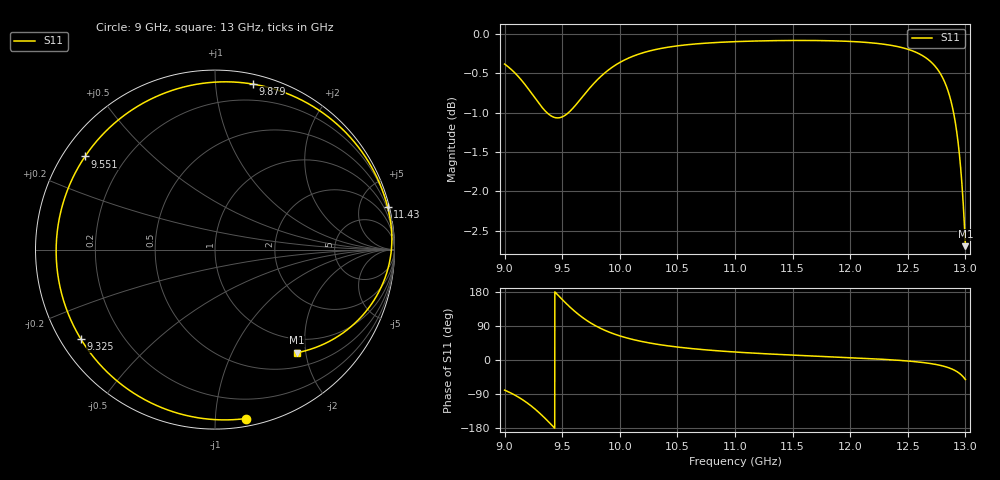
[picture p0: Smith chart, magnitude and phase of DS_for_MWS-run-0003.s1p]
! TOUCHSTONE file generated by CST DESIGN STUDIO
! Date and time: Tue Feb  4 18:04:49 2025
! Project name: C:\Work\MatlabApps\UnitCellOptimizationMatlab\CST\unitcell.cst
! Tree item: Tasks\Sweep1\SPara1\S-Parameters
! Header version: 2024
! Port assignment regex: !\s*Touchstone port\s*([0-9]+)\s*=\s*(CST MWS port|CST DES external port|CST DES block port)\s*(.+)\s* \(\"(.*)\"\)(\s*mode\s*([0-9]+))?.*
! Touchstone port assignment:
! Touchstone port 1 = CST DES external port 1 ("")
# GHz S MA R 50
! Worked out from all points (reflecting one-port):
!   4001 points, 9 GHz to 13 GHz, reference 50 ohm
!   lowest |S11| = -2.7 dB at 13 GHz (marker M1), VSWR 6.50, Z = 36.8 - j91.6 ohm
!   phase of S11 starts at -80 deg and turns -332 deg over the sweep
!   S11 on the Smith chart (normalised r, x): 9 GHz: 0.05, -1.20; 9.325 GHz: 0.06, -0.30; 9.551 GHz: 0.06, +0.32; 9.879 GHz: 0.07, +1.25; 11.43 GHz: 0.33, +8.20; 13 GHz: 0.74, -1.83
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9  0.9571 -79.5
9.1  0.9429 -94.5
9.181  0.928 -110.0
9.254  0.9127 -126.9
9.325  0.8983 -146.2
9.372  0.8907 -160.2
9.415  0.8862 -173.6
9.457  0.8846 173.1
9.5  0.8859 159.6
9.551  0.8909 144.4
9.622  0.9022 125.1
9.695  0.9159 108.1
9.778  0.9308 92.2
9.879  0.9459 77.2
10  0.9593 63.6
10.102  0.9672 55.0
10.216  0.9737 47.3
10.5  0.9828 34.2
11  0.9889 21.1
11.434  0.9905 13.9
11.5  0.9906 12.9
12  0.9892 6.2
12.5  0.978 -2.7
12.702  0.9599 -9.6
12.847  0.9212 -19.6
12.93  0.8611 -31.3
12.958  0.8237 -37.6
13  0.7333 -51.6
